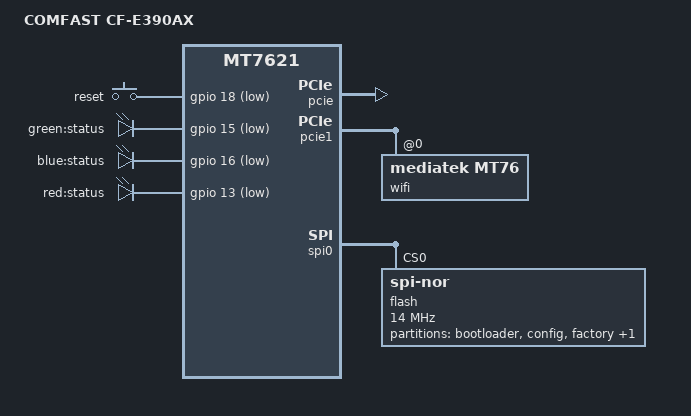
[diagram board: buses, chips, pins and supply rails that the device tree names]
// SPDX-License-Identifier: GPL-2.0-or-later OR MIT

#include "mt7621.dtsi"

#include <dt-bindings/gpio/gpio.h>
#include <dt-bindings/input/input.h>
#include <dt-bindings/leds/common.h>

/ {
	compatible = "comfast,cf-e390ax", "mediatek,mt7621-soc";
	model = "COMFAST CF-E390AX";

	chosen {
		bootargs = "console=ttyS0,115200";
	};

	keys {
		compatible = "gpio-keys";

		reset {
			label = "reset";
			gpios = <&gpio 18 GPIO_ACTIVE_LOW>;
			linux,code = <KEY_RESTART>;
		};
	};

	leds {
		compatible = "gpio-leds";

		led_status_green: status_green {
			label = "green:status";
			gpios = <&gpio 15 GPIO_ACTIVE_LOW>;
		};

		led_status_blue: status_blue {
			label = "blue:status";
			gpios = <&gpio 16 GPIO_ACTIVE_LOW>;
		};

		led_status_red: status_red {
			label = "red:status";
			gpios = <&gpio 13 GPIO_ACTIVE_LOW>;
		};
	};

	aliases {
		led-boot = &led_status_green;
		led-failsafe = &led_status_red;
		led-running = &led_status_blue;
		led-upgrade = &led_status_red;
	};
};

&pcie {
	status = "okay";
};

&pcie1 {
	wifi@0,0 {
		compatible = "mediatek,mt76";
		reg = <0x0000 0 0 0 0>;
		nvmem-cells = <&eeprom_factory_0>;
		nvmem-cell-names = "eeprom";
	};
};

&spi0 {
	status = "okay";
	flash@0 {
		compatible = "jedec,spi-nor";
		reg = <0>;
		spi-max-frequency = <14000000>;
		partitions {
			compatible = "fixed-partitions";
			#address-cells = <1>;
			#size-cells = <1>;

			partition@0 {
				label = "bootloader";
				reg = <0x0 0x30000>;
				read-only;
			};

			partition@30000 {
				label = "config";
				reg = <0x30000 0x10000>;
				read-only;
			};

			factory: partition@50000 {
				compatible = "nvmem-cells";
				label = "factory";
				reg = <0x50000 0x10000>;
				#address-cells = <1>;
				#size-cells = <1>;
				read-only;

				eeprom_factory_0: eeprom@0 {
					reg = <0x0 0xe00>;
				};

				macaddr_factory_e000: macaddr@e000 {
					reg = <0xe000 0x6>;
				};
			};

			partition@90000 {
				compatible = "denx,uimage";
				label = "firmware";
				reg = <0x90000 0xf70000>;
			};
		};
	};
};

&gmac0 {
	nvmem-cells = <&macaddr_factory_e000>;
	nvmem-cell-names = "mac-address";
};

&switch0 {
	ports {
		port@0 {
			status = "okay";
			label = "wan";
			nvmem-cells = <&macaddr_factory_e000>;
			nvmem-cell-names = "mac-address";
			mac-address-increment = <1>;
		};

		port@4 {
			status = "okay";
			label = "lan";
		};
	};
};

